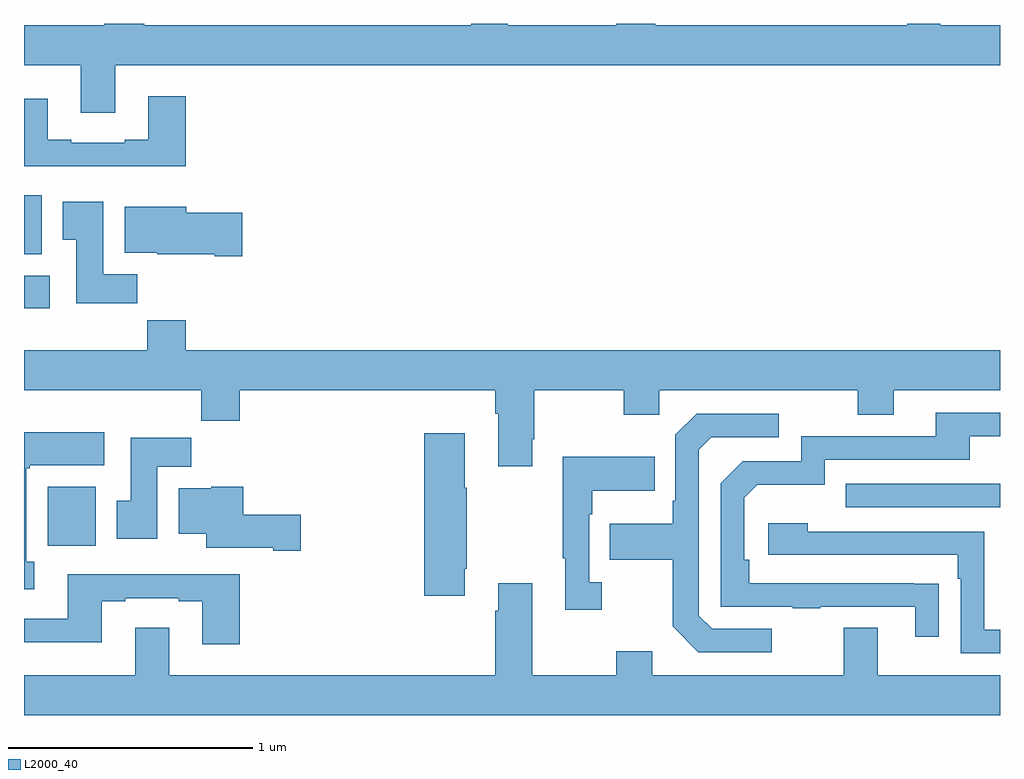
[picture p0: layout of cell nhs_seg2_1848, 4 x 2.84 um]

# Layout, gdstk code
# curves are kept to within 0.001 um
import gdstk
lib = gdstk.Library(unit=1e-6, precision=1e-09)
def R(c, l, rs):  # rectangles x0, y0, x1, y1
    for r in rs: c.add(gdstk.rectangle(r[:2], r[2:], *l))
def P(c, l, *ps):  # polygons
    for p in ps: c.add(gdstk.Polygon(p, *l))
L2000_40 = (2000, 40)

nhs_seg2_1848 = lib.new_cell('nhs_seg2_1848')
R(nhs_seg2_1848, L2000_40, [(207.098,653.66,207.295,653.902), (210.367,653.817,211,653.913), (207,654.632,207.106,654.766), (207,654.854,207.073,655.096)])
P(nhs_seg2_1848, L2000_40, [(207.373,655.628),(211,655.628),(211,655.792),(210.755,655.792),(210.755,655.8),(210.619,655.8),(210.619,655.792),(209.588,655.792),(209.588,655.8),(209.428,655.8),(209.428,655.792),(208.983,655.792),(208.983,655.8),(208.832,655.8),(208.832,655.792),(207.493,655.792),(207.493,655.8),(207.329,655.8),(207.329,655.792),(207,655.792),(207,655.628),(207.233,655.628),(207.233,655.434),(207.373,655.434)],
  [(207.662,655.501),(207.509,655.501),(207.509,655.324),(207.413,655.324),(207.413,655.311),(207.193,655.311),(207.193,655.324),(207.097,655.324),(207.097,655.492),(207,655.492),(207,655.214),(207.662,655.214)],
  [(207.464,654.772),(207.325,654.772),(207.325,655.069),(207.158,655.069),(207.158,654.913),(207.215,654.913),(207.215,654.654),(207.464,654.654)],
  [(207.895,655.025),(207.664,655.025),(207.664,655.048),(207.413,655.048),(207.413,654.86),(207.546,654.86),(207.546,654.854),(207.782,654.854),(207.782,654.847),(207.895,654.847)],
  [(209.083,654.097),(209.091,654.097),(209.091,654.296),(209.458,654.296),(209.458,654.197),(209.604,654.197),(209.604,654.296),(210.418,654.296),(210.418,654.197),(210.565,654.197),(210.565,654.296),(211,654.296),(211,654.46),(207.662,654.46),(207.662,654.584),(207.505,654.584),(207.505,654.46),(207,654.46),(207,654.296),(207.727,654.296),(207.727,654.172),(207.884,654.172),(207.884,654.296),(208.931,654.296),(208.931,654.2),(208.943,654.2),(208.943,653.985),(209.083,653.985)],
  [(210.749,653.504),(209.972,653.505),(209.972,653.602),(209.952,653.602),(209.952,653.856),(210.005,653.909),(210.282,653.909),(210.282,654.012),(210.877,654.012),(210.877,654.108),(211,654.108),(211,654.204),(210.737,654.204),(210.737,654.108),(210.186,654.108),(210.186,654.006),(209.946,654.006),(209.856,653.916),(209.856,653.409),(210.151,653.409),(210.151,653.404),(210.263,653.404),(210.263,653.409),(210.653,653.409),(210.653,653.286),(210.749,653.286)],
  [(210.064,653.319),(209.82,653.319),(209.766,653.373),(209.766,654.054),(209.817,654.105),(210.094,654.105),(210.094,654.201),(209.757,654.201),(209.67,654.114),(209.67,653.845),(209.658,653.845),(209.658,653.749),(209.401,653.749),(209.401,653.602),(209.658,653.602),(209.658,653.329),(209.763,653.223),(210.064,653.223)],
  [(207.043,653.594),(207.01,653.594),(207.01,653.977),(207.024,653.977),(207.024,653.99),(207.328,653.99),(207.328,654.124),(207,654.124),(207,653.481),(207.043,653.481)],
  [(208.807,653.566),(208.815,653.566),(208.815,653.897),(208.807,653.897),(208.807,654.121),(208.64,654.121),(208.64,653.454),(208.807,653.454)],
  [(207.547,653.984),(207.686,653.984),(207.686,654.103),(207.437,654.103),(207.437,653.844),(207.38,653.844),(207.38,653.688),(207.547,653.688)],
  [(209.368,653.51),(209.316,653.51),(209.316,653.789),(209.329,653.789),(209.329,653.885),(209.585,653.885),(209.585,654.025),(209.208,654.025),(209.208,653.609),(209.219,653.609),(209.219,653.397),(209.368,653.397)],
  [(208.135,653.786),(207.899,653.786),(207.899,653.902),(207.768,653.902),(207.768,653.896),(207.635,653.896),(207.635,653.708),(207.746,653.708),(207.746,653.651),(208.022,653.651),(208.022,653.639),(208.135,653.639)],
  [(211,653.316),(210.936,653.316),(210.936,653.718),(210.212,653.718),(210.212,653.752),(210.051,653.752),(210.051,653.622),(210.827,653.622),(210.827,653.525),(210.84,653.525),(210.84,653.22),(211,653.22)],
  [(207.884,653.542),(207.179,653.542),(207.179,653.361),(207,653.361),(207,653.264),(207.319,653.264),(207.319,653.433),(207.415,653.433),(207.415,653.445),(207.635,653.445),(207.635,653.433),(207.731,653.433),(207.731,653.256),(207.884,653.256)],
  [(211,653.128),(210.499,653.128),(210.499,653.323),(210.359,653.323),(210.359,653.128),(209.575,653.128),(209.575,653.227),(209.428,653.227),(209.428,653.128),(209.083,653.128),(209.083,653.506),(208.943,653.506),(208.943,653.393),(208.931,653.393),(208.931,653.128),(207.595,653.128),(207.595,653.323),(207.455,653.323),(207.455,653.128),(207,653.128),(207,652.964),(211,652.964)])

lib.write_gds('nhs_seg2_1848.gds')
